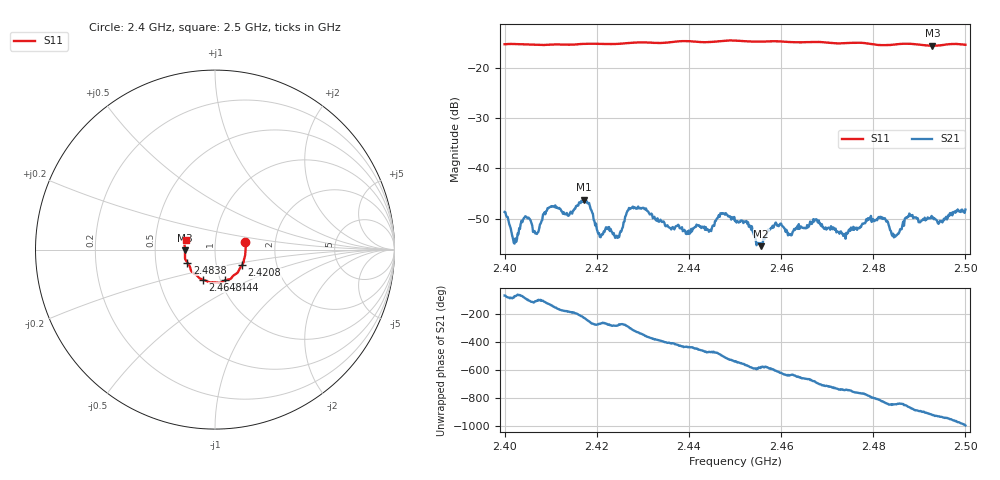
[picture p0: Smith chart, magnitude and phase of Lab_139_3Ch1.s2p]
# Hz S RI R 50
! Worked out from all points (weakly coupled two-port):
!   601 points, 2.4 GHz to 2.5 GHz, reference 50 ohm
!   highest |S21| = -46.20 dB at 2.4172 GHz (marker M1); lowest = -55.5 dB at 2.4557 GHz (marker M2)
!   lowest |S11| = -15.6 dB at 2.4928 GHz (marker M3), VSWR 1.40, Z = 35.7 - j0.335 ohm
!   |S11| at or under -10 dB: start of sweep to end of sweep
!   S12 and S22 are empty: the file has one direction only
!   S11 on the Smith chart (normalised r, x): 2.4 GHz: 1.40, +0.12; 2.4208 GHz: 1.33, -0.24; 2.444 GHz: 1.06, -0.37; 2.4648 GHz: 0.83, -0.29; 2.4838 GHz: 0.73, -0.11; 2.5 GHz: 0.72, +0.08
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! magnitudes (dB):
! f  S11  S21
! 2.4 GHz  -15.3  -48.6
! 2.4022 GHz  -15.2  -54.9
! 2.4045 GHz  -15.3  -49.5
! 2.4068 GHz  -15.4  -52.9
! 2.4098 GHz  -15.4  -47.7
! 2.4167 GHz  -15.2  -46.4
! 2.4172 GHz  -15.2  -46.2
! 2.4208 GHz  -15.2  -53.7
! 2.4245 GHz  -15.2  -53.8
! 2.4275 GHz  -15.0  -47.9
! 2.4333 GHz  -15.0  -50.5
! 2.444 GHz  -14.9  -52.2
! 2.45 GHz  -14.5  -50.5
! 2.4557 GHz  -14.8  -55.5
! 2.4587 GHz  -14.7  -51.1
! 2.4648 GHz  -14.9  -51.8
! 2.4667 GHz  -14.8  -51.0
! 2.4737 GHz  -15.1  -53.3
! 2.4833 GHz  -15.4  -51.2
! 2.4838 GHz  -15.4  -52.4
! 2.4928 GHz  -15.6  -49.9
! 2.5 GHz  -15.4  -48.2
